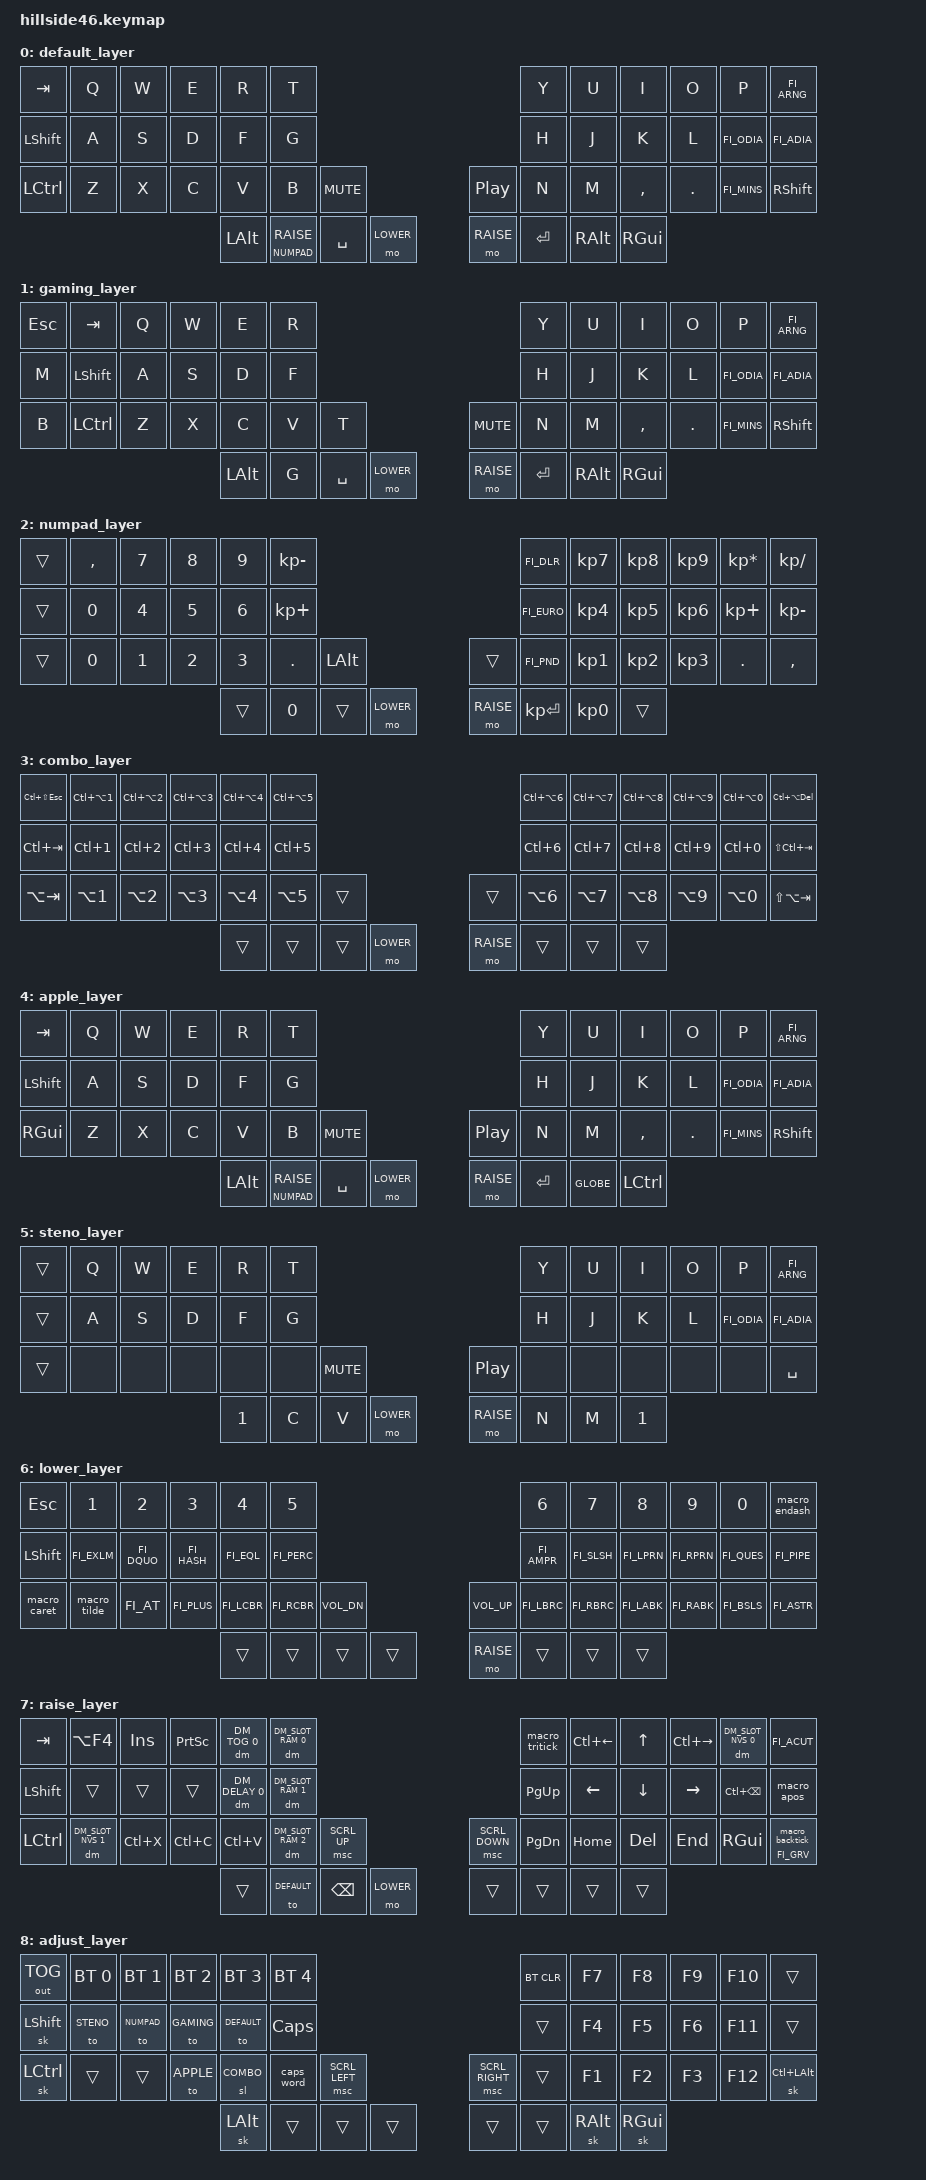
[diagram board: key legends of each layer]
/*
 * Copyright (c) 2021-2022 The ZMK Contributors
 *
 * SPDX-License-Identifier: MIT
 */

#include <behaviors.dtsi>
#include <dt-bindings/zmk/keys.h>
#include <dt-bindings/zmk/bt.h>
#include <dt-bindings/zmk/ext_power.h>
#include <dt-bindings/zmk/outputs.h>
#include "keymap_finnish.h"
#include "zmk-helpers/helper.h"
#include <dt-bindings/zmk/dynamic_macros.h>
#include <behaviors/dynamic_macro.dtsi>

// Configure mouse emulation (define defaults before including header)
#define ZMK_POINTING_DEFAULT_MOVE_VAL 600       // default: 600
#define ZMK_POINTING_DEFAULT_SCRL_VAL 300       // default: 10 (unsuitably low with smooth scrolling enabled)
#include <dt-bindings/zmk/pointing.h>

// Custom Layers
#define DEFAULT 0
#define GAMING 1
#define NUMPAD 2
#define COMBO 3
#define APPLE 4
#define STENO 5
#define LOWER 6
#define RAISE 7
#define ADJUST 8

// Custom Keycodes
#define _SNIP LG(LS(S))  // Windows snip shortcut
#define _CUT LC(X)
#define _COPY LC(C) 
#define _PASTE LC(V)
#define _SAVE LC(S)
#define _UNDO LC(Z)
#define _REDO LC(Y)
#define _SEARCH LC(F)
#define _PWRD LC(LEFT)
#define _NWRD LC(RIGHT)
#define _BSWRD LC(BSPC)
#define _ALTF4 LA(F4)

// Macro for outputting a single caret (^) symbol
ZMK_MACRO(macro_caret,
    wait-ms = <5>;
    tap-ms = <5>;
    bindings = <&macro_press &kp LSHFT>,
               <&macro_tap &kp FI_DIAE>,
               <&macro_tap &kp SPACE>,
               <&macro_release &kp LSHFT>;
)

// Macro for outputting a single tilde (~) symbol
ZMK_MACRO(macro_tilde,
    wait-ms = <10>;
    tap-ms = <10>;
    bindings = <&macro_press &kp RALT>,
               <&macro_tap &kp FI_DIAE>,
               <&macro_tap &kp FI_DIAE>,
               <&macro_release &kp RALT>,
               <&macro_tap &kp BSPC>;
)

// Macro for outputting a single en dash (–) punctuation mark
ZMK_MACRO(macro_endash,
    wait-ms = <2>;
    tap-ms = <2>;
    bindings = <&macro_press &kp LALT>,
               <&macro_tap &kp KP_N0>,
               <&macro_tap &kp KP_N1>,
               <&macro_tap &kp KP_N5>,
               <&macro_tap &kp KP_N0>,
               <&macro_release &kp LALT>;
)

// Macro for outputting a single em dash (—) punctuation mark
ZMK_MACRO(macro_emdash,
    wait-ms = <2>;
    tap-ms = <2>;
    bindings = <&macro_press &kp LALT>,
               <&macro_tap &kp KP_N0>,
               <&macro_tap &kp KP_N1>,
               <&macro_tap &kp KP_N5>,
               <&macro_tap &kp KP_N1>,
               <&macro_release &kp LALT>;
)

// Macro for outputting three backticks (`)
ZMK_MACRO(macro_tritick,
    wait-ms = <2>;
    tap-ms = <2>;
    bindings = <&macro_tap &kp FI_GRV>,
               <&macro_tap &kp SPACE>,
               <&macro_tap &kp FI_GRV>,
               <&macro_tap &kp SPACE>,
               <&macro_tap &kp FI_GRV>,
               <&macro_tap &kp SPACE>;
)

// Macro for disabling &mo RAISE after outputting an apostrophe (') to avoid accidental activation of LOWER layer mappings during typing
ZMK_MACRO(macro_apos,
    wait-ms = <1>;
    tap-ms = <1>;
    bindings = <&macro_tap &kp FI_QUOT>,
               <&macro_release &mo RAISE>;
)

// Macro for outputting a single backtick (`)
ZMK_MACRO(macro_backtick,
    wait-ms = <2>;
    tap-ms = <2>;
    bindings = <&macro_tap &kp FI_GRV>,
               <&macro_tap &kp SPACE>;
)

// Tap = macro_backtick, Hold = plain FI_GRV accent
/ {
    behaviors {
        grv_ht: grv_holdtap {
            compatible = "zmk,behavior-hold-tap";
            #binding-cells = <2>;
            tapping-term-ms = <200>;
            bindings = <&kp>, <&macro_backtick>;
        };

        // NUMPAD key: hold = momentary NUMPAD layer
        // tap = switch default layer to RAISE (gives left-hand RAISE access).
        // Return to the default layer via the &to DEFAULT mapping in the
        // RAISE layer at this same key position.
        // NOTE: bindings must be bare phandles (dt validation); the layer
        // indices are supplied at the keymap use site, positionally:
        //   &np_raise_ht NUMPAD RAISE  ->  hold = &mo NUMPAD, tap = &to RAISE
        np_raise_ht: numpad_holdtap {
            compatible = "zmk,behavior-hold-tap";
            #binding-cells = <2>;
            tapping-term-ms = <200>;
            bindings = <&mo>, <&to>;
        };
    };
};

// Tri-layer: ADJUST is active if and only if both the LOWER and RAISE layers are
// active. This makes the active layer a pure function of which of the two
// momentary keys are currently held, regardless of press/release order.
// NOTE: do not add any regular layer behavior (e.g. &mo ADJUST) targeting the
// ADJUST layer; its activation is controlled exclusively by this configuration.
/ {
    conditional_layers {
        compatible = "zmk,conditional-layers";
        tri_layer {
            if-layers = <LOWER RAISE>;
            then-layer = <ADJUST>;
        };
    };
};

&soft_off {
    hold-time-ms = <3000>; // Only turn off it the key is held for 3 seconds or longer.
};

&sk {
    release-after-ms = <1000>;
};

&sl {
    release-after-ms = <1000>;
};

&msc {
    x-input-code = <INPUT_REL_HWHEEL>;
    y-input-code = <INPUT_REL_WHEEL>;
    time-to-max-speed-ms = <1500>;
    acceleration-exponent = <0>;
};

/ {
        keymap {
                compatible = "zmk,keymap";

                default_layer {
/* QWERTY
 * -------------------------------------------------------------------------------------------------------------------------------------
 * | TAB   |   Q   |   W   |   E   |   R   |   T   |-----------------------------------|   Y   |   U   |   I   |   O   |   P   |   Å   |
 * | LSHFT |   A   |   S   |   D   |   F   |   G   |-----------------------------------|   H   |   J   |   K   |   L   |   Ö   |   Ä   |
 * | LCTRL |   Z   |   X   |   C   |   V   |   B   |  MUTE |-------------------| PLAY  |   N   |   M   |   ,   |   .   |   -   | RSHFT |
 *                                 |  LALT | NUMPAD| SPACE | LOWER |---| RAISE | ENTER |  RALT |  GUI  |
 */
                        bindings = <
&kp  TAB      &kp  Q        &kp  W        &kp  E        &kp  R        &kp  T                                                                           &kp  Y        &kp  U        &kp  I        &kp  O        &kp  P        &kp  FI_ARNG
&kp  LSHFT    &kp  A        &kp  S        &kp  D        &kp  F        &kp  G                                                                           &kp  H        &kp  J        &kp  K        &kp  L        &kp  FI_ODIA  &kp  FI_ADIA
&kp  LCTRL    &kp  Z        &kp  X        &kp  C        &kp  V        &kp  B        &kp  C_MUTE                                        &kp C_PP        &kp  N        &kp  M        &kp  COMMA    &kp  DOT      &kp  FI_MINS  &kp  RSHFT
                                                        &kp LALT      &np_raise_ht NUMPAD RAISE &kp  SPACE     &mo  LOWER             &mo  RAISE   &kp  RET        &kp  RALT     &kp  RGUI
                        >;
                };


                gaming_layer {
/* GAMING
 * -------------------------------------------------------------------------------------------------------------------------------------
 * |  ESC  |  TAB  |   Q   |   W   |   E   |   R   |-----------------------------------|   Y   |   U   |   I   |   O   |   P   |   Å   |
 * |   M   | LSHIFT|   A   |   S   |   D   |   F   |-----------------------------------|   H   |   J   |   K   |   L   |   Ö   |   Ä   |
 * |   B   |  CTRL |   Z   |   X   |   C   |   V   |   T   |-------------------| MUTE  |   N   |   M   |   ,   |   .   |   -   | RSHFT |
 *                                 |  LALT |   G   | SPACE | LOWER |---| RAISE | ENTER |  RALT |  GUI  |
 */
                        bindings = <
&kp  ESC      &kp  TAB      &kp  Q        &kp  W        &kp  E        &kp  R                                                                           &kp  Y        &kp  U        &kp  I        &kp  O        &kp  P        &kp  FI_ARNG
&kp  M        &kp  LSHIFT   &kp  A        &kp  S        &kp  D        &kp  F                                                                           &kp  H        &kp  J        &kp  K        &kp  L        &kp  FI_ODIA  &kp  FI_ADIA
&kp  B        &kp  LCTRL    &kp  Z        &kp  X        &kp  C        &kp  V        &kp  T                                             &kp  C_MUTE     &kp  N        &kp  M        &kp  COMMA    &kp  DOT      &kp  FI_MINS  &kp  RSHFT
                                                        &kp  LALT     &kp  G        &kp  SPACE      &mo  LOWER            &mo  RAISE   &kp  RET        &kp  RALT     &kp  RGUI
                        >;
                };


                numpad_layer {
/* NUMPAD
 * -------------------------------------------------------------------------------------------------------------------------------------
 * |       |   ,   |   7   |   8   |   9   |   -   |-----------------------------------|   $   |   7   |   8   |   9   |   *   |   /   |
 * |       |   0   |   4   |   5   |   6   |   +   |-----------------------------------|   €   |   4   |   5   |   6   |   +   |   -   |
 * |       |   0   |   1   |   2   |   3   |   .   | LALT  |-------------------|       |   £   |   1   |   2   |   3   |   .   |   ,   |
 *                                 |       |   0   | SPACE | LOWER |---| RAISE | ENTER |   0   |  WIN  |
 */
                        bindings = <
&trans        &kp COMMA     &kp N7        &kp N8        &kp N9        &kp KP_MINUS                                                                     &kp FI_DLR     &kp KP_N7     &kp KP_N8     &kp KP_N9     &kp KP_MULTIPLY  &kp KP_DIVIDE
&trans        &kp N0        &kp N4        &kp N5        &kp N6        &kp KP_PLUS                                                                      &kp FI_EURO    &kp KP_N4     &kp KP_N5     &kp KP_N6     &kp KP_PLUS      &kp KP_MINUS
&trans        &kp N0        &kp N1        &kp N2        &kp N3        &kp DOT       &kp  LALT                                          &trans          &kp FI_PND     &kp KP_N1     &kp KP_N2     &kp KP_N3     &kp DOT          &kp COMMA
                                                        &trans        &kp N0        &trans          &mo  LOWER            &mo  RAISE   &kp KP_ENTER    &kp KP_N0      &trans
                        >;
                };

                combo_layer {
/* COMBO
 * -------------------------------------------------------------------------------------------------------------------------------------
 * |CrShESC| CrAl+1| CrAl+2| CrAl+3| CrAl+4| CrAl+5|-----------------------------------| CrAl+6| CrAl+7| CrAl+8| CrAl+9| CrAl+0|CrAlDEL|
 * |Crl TAB| Crl+1 | Crl+2 | Crl+3 | Crl+4 | Crl+5 |-----------------------------------| Crl+6 | Crl+7 | Crl+8 | Crl+9 | Crl+0 |ShCrTAB|
 * |Alt TAB| Alt+1 | Alt+2 | Alt+3 | Alt+4 | Alt+5 |       |-------------------|       | Alt+6 | Alt+7 | Alt+8 | Alt+9 | Alt+0 |ShAlTAB|
 *                                 |       |       |       | LOWER |---| RAISE |       |       |       |
 */
                        bindings = <
&kp LC(LS(ESC)) &kp LC(LA(N1)) &kp LC(LA(N2)) &kp LC(LA(N3)) &kp LC(LA(N4)) &kp LC(LA(N5))                                                                    &kp LC(LA(N6)) &kp LC(LA(N7)) &kp LC(LA(N8)) &kp LC(LA(N9)) &kp LC(LA(N0)) &kp LC(LA(DEL))
&kp LC(TAB)     &kp LC(N1)     &kp LC(N2)     &kp LC(N3)     &kp LC(N4)     &kp LC(N5)                                                                        &kp LC(N6)     &kp LC(N7)     &kp LC(N8)     &kp LC(N9)     &kp LC(N0)     &kp LS(LC(TAB))
&kp LA(TAB)     &kp LA(N1)     &kp LA(N2)     &kp LA(N3)     &kp LA(N4)     &kp LA(N5)     &trans                                             &trans          &kp LA(N6)     &kp LA(N7)     &kp LA(N8)     &kp LA(N9)     &kp LA(N0)     &kp LS(LA(TAB))
                                                             &trans         &trans         &trans          &mo  LOWER            &mo  RAISE   &trans          &trans         &trans
                        >;
                };


                apple_layer {
/* APPLE
 * -------------------------------------------------------------------------------------------------------------------------------------
 * | TAB   |   Q   |   W   |   E   |   R   |   T   |-----------------------------------|   Y   |   U   |   I   |   O   |   P   |   Å   |
 * | LSHFT |   A   |   S   |   D   |   F   |   G   |-----------------------------------|   H   |   J   |   K   |   L   |   Ö   |   Ä   |
 * |  GUI  |   Z   |   X   |   C   |   V   |   B   |  MUTE |-------------------| PLAY  |   N   |   M   |   ,   |   .   |   -   | RSHFT |
 *                                 | NUMPAD|  LALT | SPACE | LOWER |---| RAISE | ENTER |  RALT | LCTRL |
 */
                        bindings = <
&kp  TAB      &kp  Q        &kp  W        &kp  E        &kp  R        &kp  T                                                                           &kp  Y        &kp  U        &kp  I        &kp  O        &kp  P        &kp  FI_ARNG
&kp  LSHFT    &kp  A        &kp  S        &kp  D        &kp  F        &kp  G                                                                           &kp  H        &kp  J        &kp  K        &kp  L        &kp  FI_ODIA  &kp  FI_ADIA
&kp  RGUI     &kp  Z        &kp  X        &kp  C        &kp  V        &kp  B        &kp  C_MUTE                                        &kp C_PP        &kp  N        &kp  M        &kp  COMMA    &kp  DOT      &kp  FI_MINS  &kp  RSHFT
                                                        &kp  LALT     &np_raise_ht NUMPAD RAISE &kp  SPACE     &mo  LOWER             &mo  RAISE   &kp  RET        &kp  GLOBE    &kp  LCTRL
                        >;
                };


                steno_layer {
/* STENO
 * -------------------------------------------------------------------------------------------------------------------------------------
 * |       |   Q   |   W   |   E   |   R   |   T   |-----------------------------------|   Y   |   U   |   I   |   O   |   P   |   Å   |
 * |       |   A   |   S   |   D   |   F   |   G   |-----------------------------------|   H   |   J   |   K   |   L   |   Ö   |   Ä   |
 * |       |  n/a  |  n/a  |  n/a  |  n/a  |  n/a  |  MUTE |-------------------| PLAY  |  n/a  |  n/a  |  n/a  |  n/a  |  n/a  | SPACE |
 *                                 |   #   |   C   |   V   | LOWER |---| RAISE |   N   |   M   |   #   |
 */
                        bindings = <
&trans        &kp Q         &kp W         &kp E         &kp R         &kp T                                                                            &kp Y         &kp U         &kp I         &kp O         &kp P         &kp FI_ARNG
&trans        &kp A         &kp S         &kp D         &kp F         &kp G                                                                            &kp H         &kp J         &kp K         &kp L         &kp FI_ODIA   &kp FI_ADIA
&trans        &none         &none         &none         &none         &none         &kp  C_MUTE                                        &kp C_PP        &none         &none         &none         &none         &none         &kp SPACE
                                                        &kp N1        &kp C         &kp V           &mo  LOWER            &mo  RAISE   &kp N           &kp M         &kp N1
                        >;
                };


                lower_layer {
/* LOWER
 * -------------------------------------------------------------------------------------------------------------------------------------
 * |  ESC  |   1   |   2   |   3   |   4   |   5   |-----------------------------------|   6   |   7   |   8   |   9   |   0   |   —   |
 * | LSHFT |   !   |   "   |   #   |   =   |   %   |-----------------------------------|   &   |   /   |   (   |   )   |   ?   |   |   |
 * |   ^   |   ~   |   @   |   +   |   {   |   }   | VOL - |-------------------| VOL + |   [   |   ]   |   <   |   >   |   \   |   *   |
 *                                 |       |       |       |       |---| RAISE |       |       |       |
 */
                        bindings = <
&kp ESC       &kp  N1       &kp  N2       &kp  N3       &kp  N4       &kp  N5                                                                          &kp  N6       &kp  N7       &kp  N8       &kp  N9       &kp  N0       &macro_endash
&kp LSHFT     &kp  FI_EXLM  &kp  FI_DQUO  &kp  FI_HASH  &kp  FI_EQL   &kp  FI_PERC                                                                     &kp  FI_AMPR  &kp  FI_SLSH  &kp  FI_LPRN  &kp  FI_RPRN  &kp  FI_QUES  &kp FI_PIPE
&macro_caret  &macro_tilde  &kp  FI_AT    &kp  FI_PLUS  &kp  FI_LCBR  &kp  FI_RCBR  &kp C_VOL_DN                                       &kp C_VOL_UP    &kp  FI_LBRC  &kp  FI_RBRC  &kp  FI_LABK  &kp  FI_RABK  &kp  FI_BSLS  &kp FI_ASTR
                                                        &trans        &trans        &trans          &trans                &mo RAISE    &trans          &trans        &trans
                        >;
                };


                raise_layer {
/* RAISE
  * -------------------------------------------------------------------------------------------------------------------------------------
 * |  TAB  | ALT F4|  INS  | PSCRN | DM TOG| DM R#1|-----------------------------------|  ```  | ← WORD|   ↑   | WORD →| DM N#1|   ´   |
 * | LSHFT |       |       |       |DM 50ms| DM R#2|-----------------------------------|PAGE UP|   ←   |   ↓   |   →   |DEL WRD|   '   |
 * | LCTRL | DM N#2|  CUT  | COPY  | PASTE | DM R#3| SCRL ↑|-------------------| SCRL ↓|PAGE DN|  HOME |  DEL  |  END  |  GUI  |   `   |
 *                                 |       | DEFAULT | BSPC  | LOWER |---|       |       |       |       |
 */
                        bindings = <
&kp TAB       &kp _ALTF4            &kp INS       &kp PSCRN     &dm DM_TOG 0   &dm DM_SLOT_RAM 0                                                                        &macro_tritick  &kp _PWRD     &kp UP        &kp _NWRD     &dm DM_SLOT_NVS 0  &kp FI_ACUT
&kp LSHFT     &trans                &trans        &trans        &dm DM_DELAY 0 &dm DM_SLOT_RAM 1                                                                        &kp PG_UP       &kp LEFT      &kp DOWN      &kp RIGHT     &kp _BSWRD         &macro_apos
&kp LCTRL     &dm DM_SLOT_NVS 1     &kp _CUT      &kp _COPY     &kp _PASTE     &dm DM_SLOT_RAM 2     &msc SCRL_UP                                       &msc SCRL_DOWN  &kp PG_DN       &kp HOME      &kp DEL       &kp END       &kp RGUI           &grv_ht FI_GRV 0
                                                                &trans         &to DEFAULT           &kp BSPC        &mo LOWER             &trans       &trans          &trans          &trans
                        >;
                };


                adjust_layer {
/* ADJUST
 * -------------------------------------------------------------------------------------------------------------------------------------
 * |OUT TOG| BT 0  | BT 1  | BT 2  | BT 3  | BT 4  |-----------------------------------| BT CLR|  F7   |  F8   |  F9   |  F10  |       |
 * |SK SHFT| STENO | NUMPAD| GAMING|DEFAULT| CAPS  |-----------------------------------|       |  F4   |  F5   |  F6   |  F11  |       |
 * |SK LCRL|       |       | APPLE |1 COMBO|CAPS WD| SCRL ←|-------------------| SCRL →|       |  F1   |  F2   |  F3   |  F12  |SK CrAl|
 *                                 |       |SK LALT|       |       |---|       |       |SK RALT| SK WIN|
 */
                        bindings = <
&out OUT_TOG  &bt BT_SEL 0  &bt BT_SEL 1  &bt BT_SEL 2  &bt BT_SEL 3  &bt BT_SEL 4                                                                     &bt BT_CLR    &kp F7        &kp F8        &kp F9        &kp F10       &trans
&sk LSHFT     &to STENO     &to NUMPAD    &to GAMING    &to DEFAULT   &kp CLCK                                                                         &trans        &kp F4        &kp F5        &kp F6        &kp F11       &trans
&sk LCTRL     &trans        &trans        &to APPLE     &sl COMBO     &caps_word    &msc SCRL_LEFT                                     &msc SCRL_RIGHT &trans        &kp F1        &kp F2        &kp F3        &kp F12       &sk LC(LALT)
                                                        &sk LALT      &trans        &trans          &trans                &trans       &trans          &sk RALT     &sk RGUI
                        >;
                };


//                template_layer {
/* TEMPLATE
 * -------------------------------------------------------------------------------------------------------------------------------------
 * |       |       |       |       |       |       |-----------------------------------|       |       |       |       |       |       |
 * |       |       |       |       |       |       |-----------------------------------|       |       |       |       |       |       |
 * |       |       |       |       |       |       |       |-------------------|       |       |       |       |       |       |       |
 *                                 |       |       |       |       |---|       |       |       |       |
 */
//                        bindings = <
//&trans        &trans        &trans        &trans        &trans        &trans                                                                           &trans        &trans        &trans        &trans        &trans        &trans
//&trans        &trans        &trans        &trans        &trans        &trans                                                                           &trans        &trans        &trans        &trans        &trans        &trans
//&trans        &trans        &trans        &trans        &trans        &trans        &trans                                             &trans          &trans        &trans        &trans        &trans        &trans        &trans
//                                                        &trans        &trans        &trans          &trans                &trans       &trans          &trans        &trans
//                        >;
//                };
        
        
        };
};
